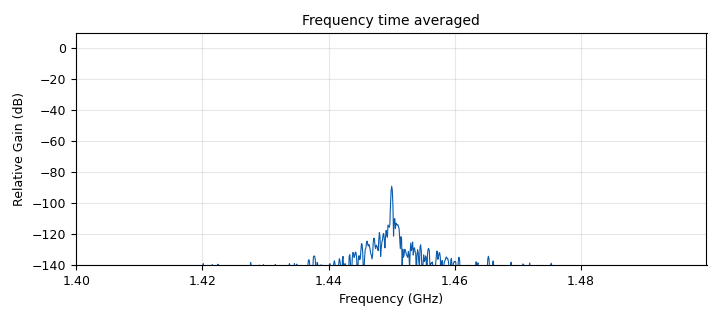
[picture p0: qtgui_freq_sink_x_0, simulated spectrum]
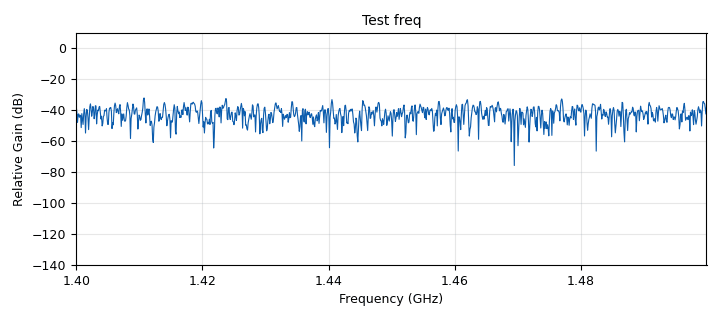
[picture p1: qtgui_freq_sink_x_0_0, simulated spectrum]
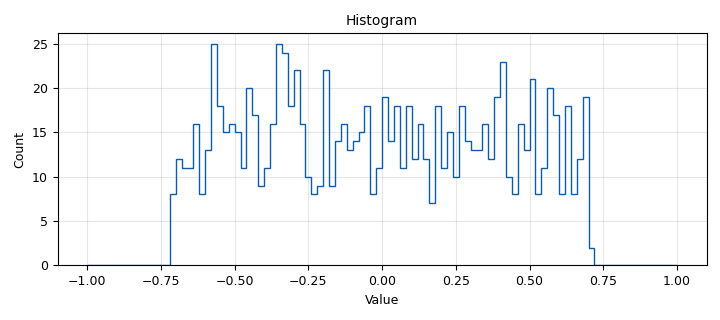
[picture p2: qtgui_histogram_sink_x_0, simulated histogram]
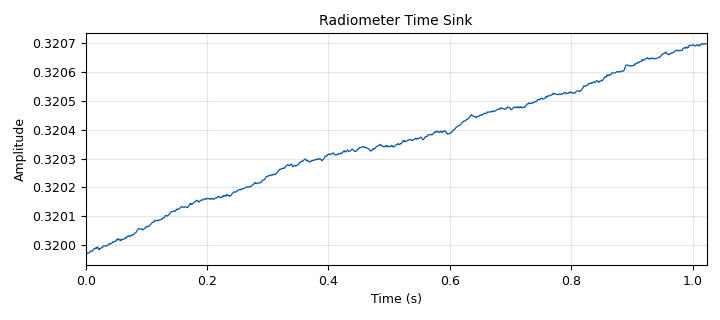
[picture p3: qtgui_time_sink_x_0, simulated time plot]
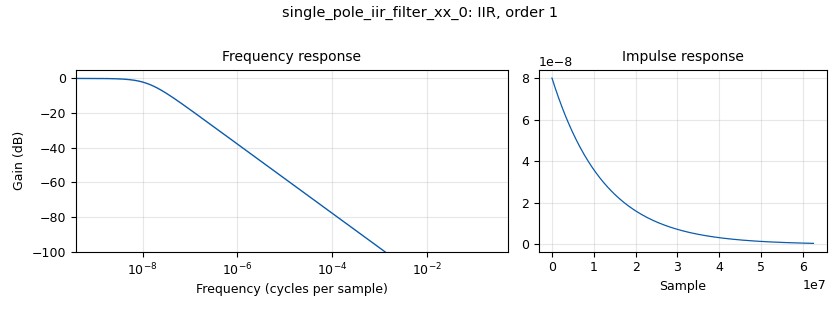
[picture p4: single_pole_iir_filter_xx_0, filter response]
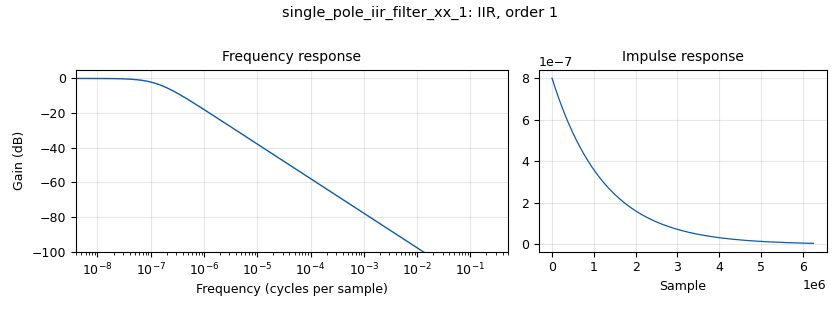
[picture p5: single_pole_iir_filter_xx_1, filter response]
options:
  parameters:
    generate_options: qt_gui
    id: gnu_radio_controller
    output_language: python
    title: Radiometer control script
  states: {}

blocks:
- name: IntegrationTimeLong
  id: variable
  parameters:
    value: '8'
  states: {}
- name: IntegrationTimeShort
  id: variable
  parameters:
    value: '0.8'
  states: {}
- name: center_frequency
  id: variable
  parameters:
    value: 1450E6
  states: {}
- name: csv_file_path
  id: variable
  parameters:
    value: '"../../../data/radiometer_data_1"'
  states: {}
- name: file_write_rate
  id: variable
  parameters:
    value: '10'
  states: {}
- name: integration_select
  id: variable_qtgui_chooser
  parameters:
    label: Select integration time
    label0: Short integration
    label1: Long integration
    num_opts: '2'
    option0: '0'
    option1: '1'
    type: real
    value: '0'
  states: {}
- name: intermediate_rate
  id: variable
  parameters:
    value: '1000'
  states: {}
- name: local_oscillator
  id: variable
  parameters:
    value: 1.0E9
  states: {}
- name: noise
  id: variable_qtgui_range
  parameters:
    start: '0'
    step: '0.2'
    stop: '10'
    value: '1'
  states: {}
- name: samp_rate
  id: variable
  parameters:
    value: 10E6
  states: {}
- name: analog_const_source_x_0_0
  id: analog_const_source_x
  parameters:
    const: '0'
    type: complex
  states: {}
- name: analog_noise_source_x_0
  id: analog_noise_source_x
  parameters:
    amp: noise
    noise_type: analog.GR_UNIFORM
    seed: '0'
    type: complex
  states: {}
- name: blocks_add_xx_0
  id: blocks_add_xx
  parameters:
    type: complex
  states: {}
- name: blocks_complex_to_mag_squared_1
  id: blocks_complex_to_mag_squared
  parameters: {}
  states: {}
- name: blocks_complex_to_real_0
  id: blocks_complex_to_real
  parameters: {}
  states: {}
- name: blocks_file_sink_0
  id: blocks_file_sink
  parameters:
    file: csv_file_path
    type: float
  states: {state: disabled}
- name: blocks_keep_one_in_n_0
  id: blocks_keep_one_in_n
  parameters:
    n: int(samp_rate/intermediate_rate)
    type: float
  states: {}
- name: blocks_keep_one_in_n_0_0
  id: blocks_keep_one_in_n
  parameters:
    n: int(intermediate_rate/file_write_rate)
    type: float
  states: {state: disabled}
- name: blocks_keep_one_in_n_0_1
  id: blocks_keep_one_in_n
  parameters:
    n: int(samp_rate/intermediate_rate)
    type: complex
  states: {}
- name: blocks_moving_average_xx_0
  id: blocks_moving_average_xx
  parameters:
    length: '1000'
    max_iter: '4000'
    scale: '1'
    type: float
  states: {state: disabled}
- name: blocks_selector_0
  id: blocks_selector
  parameters:
    enabled: 'True'
    input_index: integration_select
    num_inputs: '2'
    num_outputs: '1'
    output_index: '0'
    type: float
  states: {}
- name: blocks_selector_0_0
  id: blocks_selector
  parameters:
    enabled: 'True'
    input_index: integration_select
    num_inputs: '2'
    num_outputs: '1'
    output_index: '0'
    type: complex
  states: {}
- name: import_0
  id: import
  parameters:
    imports: import datetime
  states: {}
- name: import_0_0
  id: import
  parameters:
    imports: import numpy as np
  states: {}
- name: note_0
  id: note
  parameters:
    note: Simulation circuit
  states: {}
- name: num_sink_1
  id: qtgui_number_sink
  parameters:
    graph_type: qtgui.NUM_GRAPH_NONE
    name: Number sink
    type: float
  states: {}
- name: osmosdr_source_0
  id: osmosdr_source
  parameters:
    args: airspy=0,bias=0,pack=0
    bb_gain0: '10'
    freq0: center_frequency
    gain0: '0'
    gain_mode0: 'False'
    if_gain0: '10'
    sample_rate: samp_rate
    sync: sync
    time_source0: gpsdo
    type: fc32
  states: {state: disabled}
- name: qtgui_freq_sink_x_0
  id: qtgui_freq_sink_x
  parameters:
    bw: samp_rate*10
    fc: center_frequency
    fftsize: '1024'
    name: Frequency time averaged
    type: complex
  states: {}
- name: qtgui_freq_sink_x_0_0
  id: qtgui_freq_sink_x
  parameters:
    bw: samp_rate*10
    fc: center_frequency
    fftsize: '1024'
    name: Test freq
    type: complex
  states: {}
- name: qtgui_histogram_sink_x_0
  id: qtgui_histogram_sink_x
  parameters:
    accum: 'True'
    bins: '100'
    marker1: '0'
    name: Histogram
    size: '1024'
    style1: '0'
    type: float
    width1: '0'
    xmax: '1'
    xmin: '-1'
  states: {}
- name: qtgui_time_sink_x_0
  id: qtgui_time_sink_x
  parameters:
    autoscale: 'True'
    entags: 'False'
    name: Radiometer Time Sink
    size: '1024'
    srate: intermediate_rate
    type: float
    update_time: '0.1'
    ymax: '20'
    yunit: MegaJansky per steradian lmao
  states: {}
- name: qtgui_waterfall_sink_x_0
  id: qtgui_waterfall_sink_x
  parameters:
    bw: samp_rate*10
    fc: center_frequency
    fftsize: '1024'
    name: Waterfall Analyzer
    type: complex
  states: {}
- name: single_pole_iir_filter_xx_0
  id: single_pole_iir_filter_xx
  parameters:
    alpha: 1/samp_rate*IntegrationTimeShort
    type: float
  states: {}
- name: single_pole_iir_filter_xx_0_0
  id: single_pole_iir_filter_xx
  parameters:
    alpha: 1/samp_rate*IntegrationTimeShort
    type: complex
  states: {}
- name: single_pole_iir_filter_xx_1
  id: single_pole_iir_filter_xx
  parameters:
    alpha: 1/samp_rate*IntegrationTimeLong
    type: float
  states: {}
- name: single_pole_iir_filter_xx_1_0
  id: single_pole_iir_filter_xx
  parameters:
    alpha: 1/samp_rate*IntegrationTimeLong
    type: complex
  states: {}

connections:
- [analog_const_source_x_0_0, '0', blocks_add_xx_0, '0']
- [analog_noise_source_x_0, '0', blocks_add_xx_0, '1']
- [blocks_add_xx_0, '0', blocks_complex_to_mag_squared_1, '0']
- [blocks_add_xx_0, '0', blocks_complex_to_real_0, '0']
- [blocks_add_xx_0, '0', qtgui_freq_sink_x_0_0, '0']
- [blocks_add_xx_0, '0', single_pole_iir_filter_xx_0_0, '0']
- [blocks_add_xx_0, '0', single_pole_iir_filter_xx_1_0, '0']
- [blocks_complex_to_mag_squared_1, '0', single_pole_iir_filter_xx_0, '0']
- [blocks_complex_to_mag_squared_1, '0', single_pole_iir_filter_xx_1, '0']
- [blocks_complex_to_real_0, '0', qtgui_histogram_sink_x_0, '0']
- [blocks_keep_one_in_n_0, '0', blocks_moving_average_xx_0, '0']
- [blocks_keep_one_in_n_0, '0', num_sink_1, '0']
- [blocks_keep_one_in_n_0, '0', qtgui_time_sink_x_0, '0']
- [blocks_keep_one_in_n_0_0, '0', blocks_file_sink_0, '0']
- [blocks_keep_one_in_n_0_1, '0', qtgui_freq_sink_x_0, '0']
- [blocks_keep_one_in_n_0_1, '0', qtgui_waterfall_sink_x_0, '0']
- [blocks_moving_average_xx_0, '0', blocks_keep_one_in_n_0_0, '0']
- [blocks_selector_0, '0', blocks_keep_one_in_n_0, '0']
- [blocks_selector_0_0, '0', blocks_keep_one_in_n_0_1, '0']
- [osmosdr_source_0, '0', blocks_complex_to_mag_squared_1, '0']
- [osmosdr_source_0, '0', blocks_complex_to_real_0, '0']
- [osmosdr_source_0, '0', single_pole_iir_filter_xx_0_0, '0']
- [osmosdr_source_0, '0', single_pole_iir_filter_xx_1_0, '0']
- [single_pole_iir_filter_xx_0, '0', blocks_selector_0, '0']
- [single_pole_iir_filter_xx_0_0, '0', blocks_selector_0_0, '0']
- [single_pole_iir_filter_xx_1, '0', blocks_selector_0, '1']
- [single_pole_iir_filter_xx_1_0, '0', blocks_selector_0_0, '1']

metadata:
  file_format: 1
